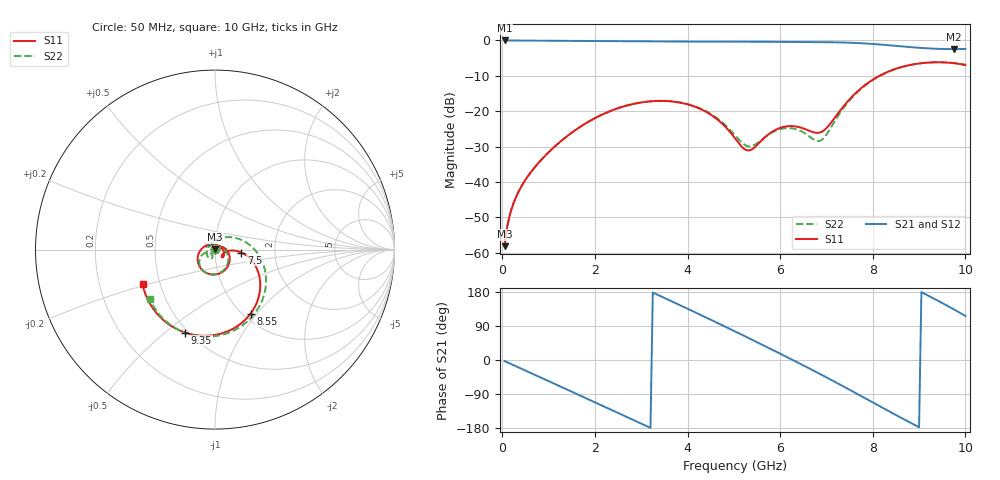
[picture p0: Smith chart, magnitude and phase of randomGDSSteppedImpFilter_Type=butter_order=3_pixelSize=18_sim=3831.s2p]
! freq	dB(S11)	phase(S11)	dB(S12)	phase(S12)
!  dB(S21)	phase(S21)	dB(S22)	phase(S22)
!S-par simulation data
#  GHz  S  DB  R 50
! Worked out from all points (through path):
!   200 points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, 50 MHz to 10 GHz, reference 50 ohm
!   highest |S21| = -0.01 dB at 50 MHz (marker M1); lowest = -2.4 dB at 9.75 GHz (marker M2)
!   group delay of S21, straight-line fit = 167 ps
!   lowest |S11| = -58.1 dB at 50 MHz (marker M3), VSWR 1.00, Z = 50.1 + j0.112 ohm
!   |S11| at or under -10 dB: start of sweep to 8.144 GHz
!   |S22| runs from -58.1 to -6.2 dB; largest |S21 - S12| = 0
!   S11 on the Smith chart (normalised r, x): 50 MHz: 1.00, +0.00; 7.5 GHz: 1.34, -0.04; 8.55 GHz: 1.08, -0.93; 9.35 GHz: 0.48, -0.59; 10 GHz: 0.40, -0.19
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0.05  -58.13 64.4  -0.01 -2.8  -0.01 -2.8  -58.09 64.0
0.1  -53.02 68.0  -0.01 -5.6  -0.01 -5.6  -52.93 67.1
0.2  -47.64 70.6  -0.02 -11.2  -0.02 -11.2  -47.56 67.6
0.5  -39.37 63.2  -0.04 -27.9  -0.04 -27.9  -39.34 56.2
1.15  -29.77 32.2  -0.08 -64.1  -0.08 -64.1  -29.80 21.2
1.75  -23.83 -1.6  -0.13 -97.6  -0.13 -97.6  -23.87 -11.8
2.2  -20.68 -27.7  -0.18 -122.9  -0.18 -122.9  -20.71 -36.3
2.65  -18.53 -54.0  -0.24 -148.2  -0.24 -148.2  -18.54 -60.6
3.4  -17.08 -98.3  -0.32 169.5  -0.32 169.5  -17.06 -100.3
4.3  -19.50 -155.3  -0.35 118.0  -0.35 118.0  -19.36 -144.4
5.05  -28.06 131.4  -0.35 74.0  -0.35 74.0  -27.18 -157.5
5.35  -31.04 61.0  -0.36 56.0  -0.36 56.0  -29.94 -129.7
5.95  -24.96 -25.0  -0.40 19.7  -0.40 19.7  -25.29 -113.7
6.7  -25.88 -42.2  -0.46 -26.7  -0.46 -26.7  -27.77 173.8
6.95  -25.38 -19.4  -0.49 -42.6  -0.49 -42.6  -27.46 109.2
7.5  -16.62 -6.3  -0.64 -78.6  -0.64 -78.6  -16.92 25.2
7.9  -11.97 -23.7  -0.91 -105.4  -0.91 -105.4  -12.09 -7.9
8.35  -8.73 -49.1  -1.36 -135.4  -1.36 -135.4  -8.79 -40.1
8.55  -7.79 -60.9  -1.59 -148.5  -1.59 -148.5  -7.84 -53.5
9.35  -6.17 -109.8  -2.35 160.1  -2.35 160.1  -6.17 -103.5
9.75  -6.43 -136.2  -2.45 133.7  -2.45 133.7  -6.37 -127.6
10  -6.98 -154.4  -2.41 116.2  -2.41 116.2  -6.83 -142.9
